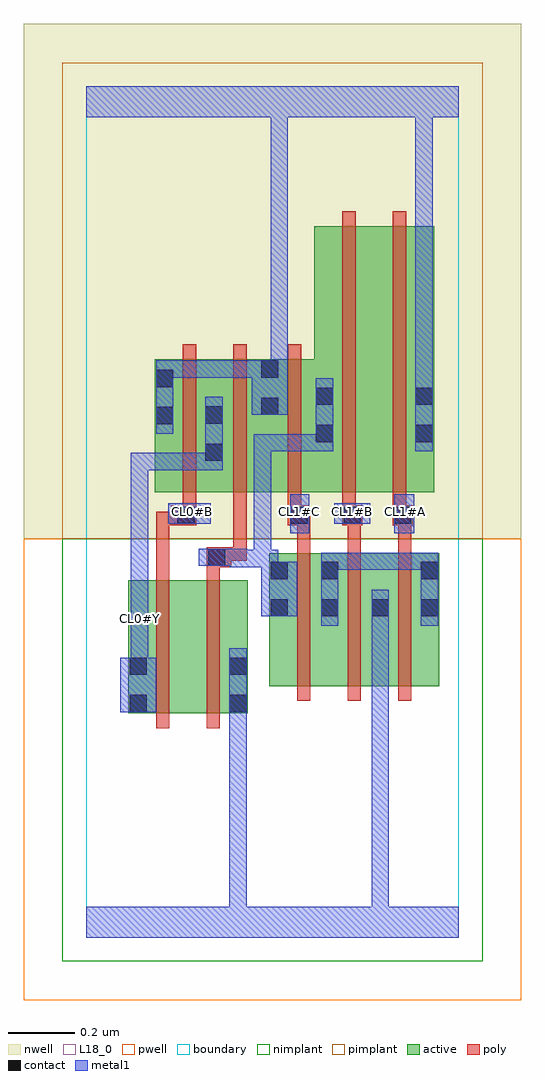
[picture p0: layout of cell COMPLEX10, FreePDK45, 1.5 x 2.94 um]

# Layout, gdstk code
import gdstk
lib = gdstk.Library(unit=1e-6, precision=1e-09)
def R(c, l, rs):  # rectangles x0, y0, x1, y1
    for r in rs: c.add(gdstk.rectangle(r[:2], r[2:], *l))
def A(c, l, x, y, w, h, nx, ny, dx, dy):  # array of equal rectangles
    R(c, l, [(x+i*dx, y+j*dy, x+i*dx+w, y+j*dy+h) for i in range(nx) for j in range(ny)])
active = (1, 0)
pwell = (2, 0)
nwell = (3, 0)
nimplant = (4, 0)
pimplant = (5, 0)
poly = (9, 0)
contact = (10, 0)
metal1 = (11, 0)
L18_0 = (18, 0)
boundary = (235, 0)

complex10 = lib.new_cell('COMPLEX10')
A(complex10, active, 0.55, 0.756, 0.06, 0.4, 3, 1, 0.152, 0)
R(complex10, active, [(0.126,0.674,0.186,1.074), (0.126,0.674,0.306,1.074), (0.306,0.674,0.486,1.074), (0.426,0.674,0.486,1.074), (0.55,0.756,0.762,1.156), (0.702,0.756,0.914,1.156), (0.854,0.756,1.062,1.156), (1.002,0.756,1.062,1.156), (0.206,1.34,0.266,1.74), (0.206,1.34,0.414,1.74), (0.354,1.34,0.582,1.74), (0.522,1.34,0.582,1.74), (0.522,1.34,0.746,1.74), (0.686,1.34,0.746,2.14), (0.686,1.34,0.866,2.14), (0.866,1.34,1.046,2.14), (0.986,1.34,1.046,2.14), (0.354,1.43,0.414,1.644)])
R(complex10, pwell, [(-0.188,-0.188,1.308,1.2)])
R(complex10, nwell, [(-0.188,1.2,1.308,2.748)])
R(complex10, nimplant, [(-0.072,-0.072,1.192,1.2)])
R(complex10, pimplant, [(-0.072,1.2,1.192,2.632)])
A(complex10, poly, 0.634, 0.712, 0.04, 0.488, 3, 1, 0.152, 0)
A(complex10, poly, 0.634, 1.16, 0.04, 0.12, 3, 1, 0.152, 0)
R(complex10, poly, [(0.21,0.63,0.25,1.118), (0.362,0.63,0.402,1.118), (0.21,1.078,0.25,1.28), (0.362,1.078,0.402,1.154), (0.362,1.114,0.436,1.174), (0.396,1.134,0.436,1.174), (0.396,1.134,0.482,1.174), (0.442,1.134,0.482,1.336), (0.21,1.24,0.296,1.28), (0.256,1.24,0.296,1.28), (0.256,1.24,0.33,1.3), (0.606,1.24,0.67,1.3), (0.63,1.24,0.67,1.28), (0.63,1.24,0.674,1.28), (0.77,1.24,0.83,1.3), (0.922,1.24,0.982,1.3), (0.29,1.26,0.33,1.336), (0.606,1.26,0.646,1.336), (0.77,1.26,0.81,1.336), (0.77,1.26,0.81,1.3), (0.77,1.26,0.81,1.3), (0.922,1.26,0.962,1.336), (0.922,1.26,0.962,1.3), (0.922,1.26,0.962,1.3), (0.29,1.296,0.33,1.784), (0.442,1.296,0.482,1.784), (0.606,1.296,0.646,1.784), (0.77,1.296,0.81,2.184), (0.922,1.296,0.962,2.184)])
A(complex10, contact, 0.554, 0.966, 0.052, 0.052, 3, 1, 0.152, 0)
R(complex10, contact, [(0.13,0.678,0.182,0.73), (0.43,0.678,0.482,0.73), (0.13,0.79,0.182,0.842), (0.43,0.79,0.482,0.842), (1.006,0.966,1.058,1.018), (0.554,1.078,0.606,1.13), (0.706,1.078,0.758,1.13), (1.006,1.078,1.058,1.13), (0.366,1.118,0.418,1.17), (0.274,1.244,0.326,1.296), (0.614,1.244,0.666,1.296), (0.774,1.244,0.826,1.296), (0.926,1.244,0.978,1.296), (0.358,1.434,0.41,1.486), (0.69,1.49,0.742,1.542), (0.99,1.49,1.042,1.542), (0.21,1.544,0.262,1.596), (0.358,1.546,0.41,1.598), (0.526,1.572,0.578,1.624), (0.69,1.602,0.742,1.654), (0.99,1.602,1.042,1.654), (0.21,1.656,0.262,1.708), (0.526,1.684,0.578,1.736)])
R(complex10, metal1, [(0,0,1.12,0.092), (0.43,0.04,0.482,0.092), (0.43,0.04,0.482,0.092), (0.43,0.04,0.482,0.092), (0.43,0.04,0.482,0.092), (0.43,0.04,0.482,0.092), (0.43,0.04,0.482,0.092), (0.43,0.04,0.482,0.702), (0.858,0.04,0.91,0.092), (0.858,0.04,0.91,0.092), (0.858,0.04,0.91,0.092), (0.858,0.04,0.91,0.092), (0.858,0.04,0.91,0.092), (0.858,0.04,0.91,0.092), (0.858,0.04,0.91,0.092), (0.858,0.04,0.91,0.092), (0.858,0.04,0.91,0.092), (0.858,0.04,0.91,0.092), (0.858,0.04,0.91,0.092), (0.858,0.04,0.91,0.092), (0.858,0.04,0.91,0.99), (0.43,0.65,0.482,0.702), (0.43,0.65,0.482,0.702), (0.43,0.65,0.482,0.702), (0.43,0.65,0.482,0.702), (0.43,0.65,0.482,0.702), (0.43,0.65,0.482,0.702), (0.43,0.65,0.482,0.87), (0.102,0.678,0.21,0.842), (0.134,0.79,0.186,0.958), (0.134,0.906,0.186,1.014), (0.706,0.938,0.758,1.158), (0.858,0.938,0.91,1.046), (1.006,0.938,1.058,1.158), (0.134,0.962,0.186,1.458), (0.526,0.966,0.634,1.13), (0.526,1.078,0.578,1.166), (0.706,1.106,0.758,1.158), (0.706,1.106,0.758,1.158), (0.706,1.106,0.932,1.158), (0.88,1.106,0.932,1.158), (0.88,1.106,1.058,1.158), (1.006,1.106,1.058,1.158), (1.006,1.106,1.058,1.158), (0.432,1.114,0.556,1.166), (0.432,1.114,0.484,1.17), (0.504,1.114,0.556,1.514), (0.504,1.114,0.578,1.166), (0.338,1.118,0.446,1.17), (0.394,1.118,0.484,1.17), (0.614,1.216,0.67,1.334), (0.926,1.216,0.986,1.334), (0.246,1.244,0.374,1.306), (0.746,1.244,0.854,1.306), (0.134,1.406,0.186,1.458), (0.134,1.406,0.186,1.458), (0.134,1.406,0.186,1.458), (0.134,1.406,0.186,1.458), (0.134,1.406,0.186,1.458), (0.134,1.406,0.41,1.458), (0.358,1.406,0.41,1.626), (0.504,1.462,0.556,1.514), (0.504,1.462,0.556,1.514), (0.504,1.462,0.556,1.514), (0.504,1.462,0.648,1.514), (0.596,1.462,0.648,1.514), (0.596,1.462,0.742,1.514), (0.69,1.462,0.742,1.682), (0.99,1.462,1.042,1.682), (0.21,1.516,0.262,1.736), (0.498,1.572,0.606,1.736), (0.99,1.63,1.042,2.52), (0.21,1.684,0.262,1.736), (0.21,1.684,0.262,1.736), (0.21,1.684,0.372,1.736), (0.32,1.684,0.372,1.736), (0.32,1.684,0.372,1.736), (0.32,1.684,0.372,1.736), (0.32,1.684,0.55,1.736), (0.554,1.684,0.606,2.52), (0,2.468,1.12,2.56), (0.554,2.468,0.606,2.52), (0.554,2.468,0.606,2.52), (0.554,2.468,0.606,2.52), (0.554,2.468,0.606,2.52), (0.554,2.468,0.606,2.52), (0.554,2.468,0.606,2.52), (0.554,2.468,0.606,2.52), (0.554,2.468,0.606,2.52), (0.554,2.468,0.606,2.52), (0.554,2.468,0.606,2.52), (0.554,2.468,0.606,2.52), (0.554,2.468,0.606,2.52), (0.554,2.468,0.606,2.52), (0.554,2.468,0.606,2.52), (0.554,2.468,0.606,2.52), (0.554,2.468,0.606,2.52), (0.99,2.468,1.042,2.52), (0.99,2.468,1.042,2.52), (0.99,2.468,1.042,2.52), (0.99,2.468,1.042,2.52), (0.99,2.468,1.042,2.52), (0.99,2.468,1.042,2.52), (0.99,2.468,1.042,2.52), (0.99,2.468,1.042,2.52)])
A(complex10, L18_0, 0.614, 1.254, 0.052, 0.052, 3, 1, 0.16, 0)
R(complex10, L18_0, [(0,0,1.12,0.092), (0.43,0.04,0.482,0.092), (0.43,0.04,0.482,0.092), (0.43,0.04,0.482,0.092), (0.43,0.04,0.482,0.092), (0.43,0.04,0.482,0.092), (0.43,0.04,0.482,0.092), (0.43,0.04,0.482,0.702), (0.858,0.04,0.91,0.092), (0.858,0.04,0.91,0.092), (0.858,0.04,0.91,0.092), (0.858,0.04,0.91,0.092), (0.858,0.04,0.91,0.092), (0.858,0.04,0.91,0.092), (0.858,0.04,0.91,0.092), (0.858,0.04,0.91,0.092), (0.858,0.04,0.91,0.092), (0.858,0.04,0.91,0.092), (0.858,0.04,0.91,0.092), (0.858,0.04,0.91,0.092), (0.858,0.04,0.91,0.99), (0.43,0.65,0.482,0.702), (0.43,0.65,0.482,0.702), (0.43,0.65,0.482,0.702), (0.43,0.65,0.482,0.702), (0.43,0.65,0.482,0.702), (0.43,0.65,0.482,0.702), (0.43,0.65,0.482,0.87), (0.102,0.678,0.21,0.842), (0.134,0.79,0.186,0.958), (0.134,0.906,0.186,1.014), (0.134,0.934,0.186,0.986), (0.858,0.938,0.91,1.046), (0.134,0.962,0.186,1.458), (0.614,1.216,0.67,1.334), (0.926,1.216,0.986,1.334), (0.246,1.244,0.374,1.306), (0.746,1.244,0.854,1.306), (0.294,1.254,0.346,1.306), (0.134,1.406,0.186,1.458), (0.134,1.406,0.186,1.458), (0.134,1.406,0.186,1.458), (0.134,1.406,0.186,1.458), (0.134,1.406,0.186,1.458), (0.134,1.406,0.41,1.458), (0.358,1.406,0.41,1.626), (0.99,1.462,1.042,1.682), (0.21,1.516,0.262,1.736), (0.498,1.572,0.606,1.736), (0.99,1.63,1.042,2.52), (0.21,1.684,0.262,1.736), (0.21,1.684,0.262,1.736), (0.21,1.684,0.372,1.736), (0.32,1.684,0.372,1.736), (0.32,1.684,0.372,1.736), (0.32,1.684,0.372,1.736), (0.32,1.684,0.55,1.736), (0.554,1.684,0.606,2.52), (0,2.468,1.12,2.56), (0.554,2.468,0.606,2.52), (0.554,2.468,0.606,2.52), (0.554,2.468,0.606,2.52), (0.554,2.468,0.606,2.52), (0.554,2.468,0.606,2.52), (0.554,2.468,0.606,2.52), (0.554,2.468,0.606,2.52), (0.554,2.468,0.606,2.52), (0.554,2.468,0.606,2.52), (0.554,2.468,0.606,2.52), (0.554,2.468,0.606,2.52), (0.554,2.468,0.606,2.52), (0.554,2.468,0.606,2.52), (0.554,2.468,0.606,2.52), (0.554,2.468,0.606,2.52), (0.554,2.468,0.606,2.52), (0.99,2.468,1.042,2.52), (0.99,2.468,1.042,2.52), (0.99,2.468,1.042,2.52), (0.99,2.468,1.042,2.52), (0.99,2.468,1.042,2.52), (0.99,2.468,1.042,2.52), (0.99,2.468,1.042,2.52), (0.99,2.468,1.042,2.52)])
R(complex10, boundary, [(0,0,1.12,2.56)])
complex10.add(gdstk.Label('CL0#B', (0.32,1.28), layer=11, texttype=0))
complex10.add(gdstk.Label('CL0#Y', (0.16,0.96), layer=11, texttype=0))
complex10.add(gdstk.Label('CL1#A', (0.96,1.28), layer=11, texttype=0))
complex10.add(gdstk.Label('CL1#B', (0.8,1.28), layer=11, texttype=0))
complex10.add(gdstk.Label('CL1#C', (0.64,1.28), layer=11, texttype=0))

lib.write_gds('COMPLEX10.gds')
